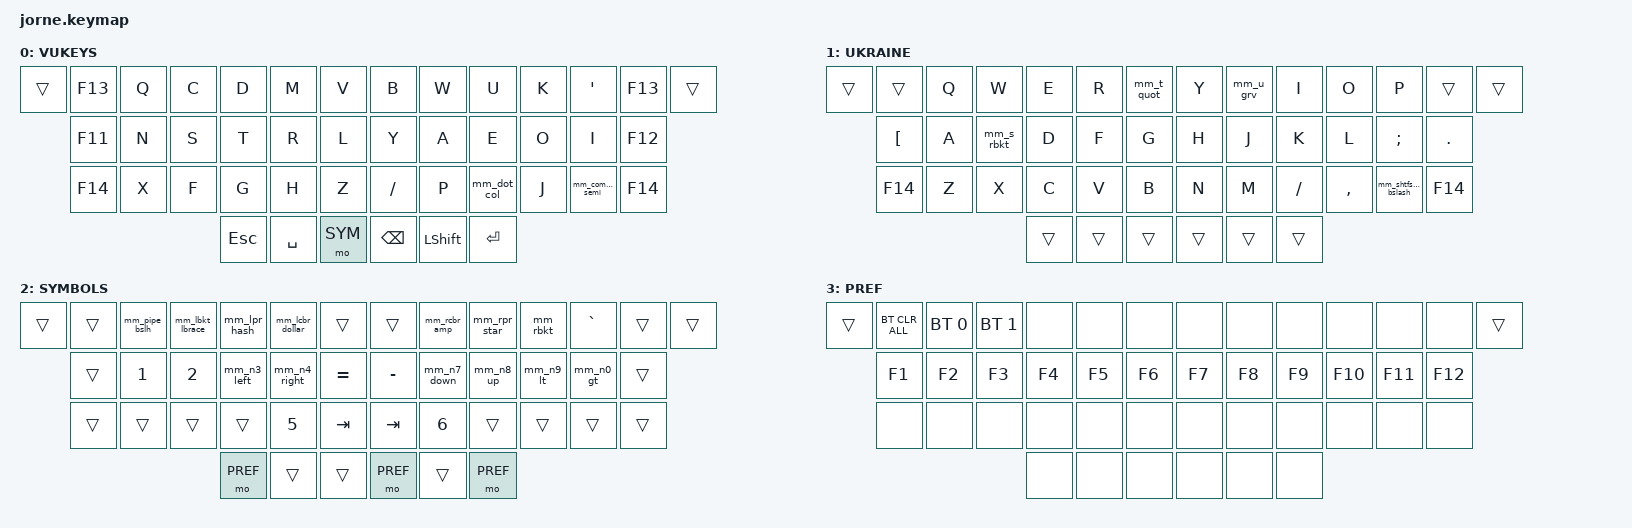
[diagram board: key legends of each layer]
/*
 * Copyright (c) 2020 The ZMK Contributors
 *
 * SPDX-License-Identifier: MIT
 */

#include <behaviors.dtsi>
#include <dt-bindings/zmk/bt.h>
#include <dt-bindings/zmk/keys.h>

#define VUKEYS 0
#define UA 1
#define SYM 2
#define PREF 3

/ {
    behaviors {
        mm_comma_semi: mm_comma_semi {
            compatible = "zmk,behavior-mod-morph";
            label = "MM_COMMA_SEMI";
            bindings = <&kp COMMA>, <&kp SEMI>;

            #binding-cells = <0>;
            mods = <(MOD_LSFT)>;
        };

        mm_dot_col: mm_dot_col {
            compatible = "zmk,behavior-mod-morph";
            label = "MM_DOT_COL";
            bindings = <&kp DOT>, <&kp COLON>;

            #binding-cells = <0>;
            mods = <(MOD_LSFT)>;
        };

        mm_pipe_bslh: mm_pipe_bslh {
            compatible = "zmk,behavior-mod-morph";
            label = "MM_PIPE_BSLH";
            bindings = <&kp PIPE>, <&kp BACKSLASH>;

            #binding-cells = <0>;
            mods = <(MOD_LSFT)>;
        };

        mm_lbkt_lbrace: mm_lbkt_lbrace {
            compatible = "zmk,behavior-mod-morph";
            label = "MM_LBKT_LBRACE";
            bindings = <&kp LBKT>, <&kp LEFT_BRACE>;

            #binding-cells = <0>;
            mods = <(MOD_LSFT)>;
        };

        mm_lpr_hash: mm_lpr_hash {
            compatible = "zmk,behavior-mod-morph";
            label = "MM_LPR_HASH";
            bindings = <&kp LS(N9)>, <&kp LS(N3)>;

            #binding-cells = <0>;
            mods = <(MOD_LSFT)>;
        };

        mm_lcbr_dollar: mm_lcbr_dollar {
            compatible = "zmk,behavior-mod-morph";
            label = "MM_LCBR_DOLLAR";
            bindings = <&kp LS(LBKT)>, <&kp LS(N4)>;

            #binding-cells = <0>;
            mods = <(MOD_LSFT)>;
        };

        mm_rcbr_amp: mm_rcbr_amp {
            compatible = "zmk,behavior-mod-morph";
            label = "MM_RCBR_AMP";
            bindings = <&kp LS(RBKT)>, <&kp LS(N7)>;

            #binding-cells = <0>;
            mods = <(MOD_LSFT)>;
        };

        mm_rpr_star: mm_rpr_star {
            compatible = "zmk,behavior-mod-morph";
            label = "mm_rpr_star";
            bindings = <&kp LS(N0)>, <&kp LS(N8)>;

            #binding-cells = <0>;
            mods = <(MOD_LSFT)>;
        };

        mm_rbkt: mm_rbkt {
            compatible = "zmk,behavior-mod-morph";
            label = "MM_RBKT";
            bindings = <&kp RBKT>, <&kp LS(RBKT)>;

            #binding-cells = <0>;
            mods = <(MOD_LSFT)>;
        };

        mm_n3_left: mm_n3_left {
            compatible = "zmk,behavior-mod-morph";
            label = "MM_N3_LEFT";
            bindings = <&kp N3>, <&kp LEFT>;

            #binding-cells = <0>;
            mods = <(MOD_LSFT)>;
        };

        mm_n4_right: mm_n4_right {
            compatible = "zmk,behavior-mod-morph";
            label = "MM_N4_RIGHT";
            bindings = <&kp N4>, <&kp RIGHT>;

            #binding-cells = <0>;
            mods = <(MOD_LSFT)>;
        };

        mm_n7_down: mm_n7_down {
            compatible = "zmk,behavior-mod-morph";
            label = "MM_N7_DOWN";
            bindings = <&kp N7>, <&kp DOWN>;

            #binding-cells = <0>;
            mods = <(MOD_LSFT)>;
        };

        mm_n8_up: mm_n8_up {
            compatible = "zmk,behavior-mod-morph";
            label = "MM_N8_UP";
            bindings = <&kp N8>, <&kp UP>;

            #binding-cells = <0>;
            mods = <(MOD_LSFT)>;
        };

        mm_n9_lt: mm_n9_lt {
            compatible = "zmk,behavior-mod-morph";
            label = "MM_N9_LT";
            bindings = <&kp N9>, <&kp LESS_THAN>;

            #binding-cells = <0>;
            mods = <(MOD_LSFT)>;
        };

        mm_n0_gt: mm_n0_gt {
            compatible = "zmk,behavior-mod-morph";
            label = "MM_N0_GT";
            bindings = <&kp N0>, <&kp GREATER_THAN>;

            #binding-cells = <0>;
            mods = <(MOD_LSFT)>;
        };

        mm_t_quot: mm_t_quot {
            compatible = "zmk,behavior-mod-morph";
            label = "MM_T_QUOT";
            bindings = <&kp T>, <&kp SINGLE_QUOTE>;

            #binding-cells = <0>;
            mods = <(MOD_LSFT)>;
        };

        mm_s_rbkt: mm_s_rbkt {
            compatible = "zmk,behavior-mod-morph";
            label = "MM_S_RBKT";
            bindings = <&kp S>, <&kp RBKT>;

            #binding-cells = <0>;
            mods = <(MOD_LSFT)>;
        };

        mm_u_grv: mm_u_grv {
            compatible = "zmk,behavior-mod-morph";
            label = "MM_U_GRV";
            bindings = <&kp U>, <&kp GRAVE>;

            #binding-cells = <0>;
            mods = <(MOD_LSFT)>;
        };

        mm_comma_bslh: mm_comma_bslh {
            compatible = "zmk,behavior-mod-morph";
            label = "MM_COMMA_BSLH";
            bindings = <&kp COMMA>, <&kp BSLH>;

            #binding-cells = <0>;
            mods = <(MOD_LSFT)>;
        };

        mm_shtfslash_bslash: mm_shtfslash_bslash {
            compatible = "zmk,behavior-mod-morph";
            label = "MM_SHTFSLASH_BSLASH";
            bindings = <&kp LS(SLASH)>, <&kp BSLH>;

            #binding-cells = <0>;
            mods = <(MOD_LSFT)>;
        };
    };

    combos {
        compatible = "zmk,combos";

        left_index_home_top_ctrl {
            bindings = <&sk LCTRL>;
            key-positions = <5 18>;
            layers = <0 2>;
            timeout-ms = <50>;
        };

        left_middle_home_top_cmd {
            bindings = <&sk LGUI>;
            key-positions = <4 17>;
            layers = <0 2>;
            timeout-ms = <50>;
        };

        left_ring_home_top_opt {
            bindings = <&sk LALT>;
            key-positions = <3 16>;
            layers = <0 1 2>;
            timeout-ms = <50>;
        };

        right_index_home_top_ctrl {
            bindings = <&sk RCTRL>;
            key-positions = <8 21>;
            layers = <0 2>;
            timeout-ms = <50>;
        };

        right_middle_home_top_cmd {
            bindings = <&sk RGUI>;
            key-positions = <22 9>;
            layers = <0 2>;
            timeout-ms = <50>;
        };

        right_ring_home_top_opt {
            bindings = <&sk RALT>;
            key-positions = <10 23>;
            layers = <0 1 2>;
            timeout-ms = <50>;
        };

        vukeys_to_ua {
            bindings = <&m_f14_ua>;
            key-positions = <40 41>;
            layers = <0>;
        };

        ua_to_vukeys {
            bindings = <&m_f14_vukeys>;
            key-positions = <40 41>;
            layers = <1>;
        };
    };

    macros {
        m_f14_ua: m_f14_ua {
            compatible = "zmk,behavior-macro";
            #binding-cells = <0>;
            bindings = <&kp F14 &to 1>;
            label = "M_F14_UA";
            wait-ms = <30>;
            tap-ms = <40>;
        };

        m_f14_vukeys: m_f14_vukeys {
            compatible = "zmk,behavior-macro";
            #binding-cells = <0>;
            bindings = <&kp F14 &to 0>;
            label = "M_F14_VUKEYS";
            wait-ms = <30>;
            tap-ms = <40>;
        };
    };

    keymap {
        compatible = "zmk,keymap";

        VUKEYS {
            bindings = <
&trans  &kp F13  &kp Q  &kp C  &kp D    &kp M      &kp V      &kp B      &kp W       &kp U        &kp K  &kp SQT         &kp F13  &trans
        &kp F11  &kp N  &kp S  &kp T    &kp R      &kp L      &kp Y      &kp A       &kp E        &kp O  &kp I           &kp F12
        &kp F14  &kp X  &kp F  &kp G    &kp H      &kp Z      &kp SLASH  &kp P       &mm_dot_col  &kp J  &mm_comma_semi  &kp F14
                               &kp ESC  &kp SPACE  &mo SYM    &kp BSPC   &kp LSHIFT  &kp RET
            >;
        };

        UA {
            label = " UKRAINE";
            bindings = <
&trans  &trans    &kp Q  &kp W       &kp E   &kp R   &mm_t_quot    &kp Y   &mm_u_grv  &kp I      &kp O      &kp P                 &trans   &trans
        &kp LBKT  &kp A  &mm_s_rbkt  &kp D   &kp F   &kp G         &kp H   &kp J      &kp K      &kp L      &kp SEMI              &kp DOT
        &kp F14   &kp Z  &kp X       &kp C   &kp V   &kp B         &kp N   &kp M      &kp SLASH  &kp COMMA  &mm_shtfslash_bslash  &kp F14
                                     &trans  &trans  &trans        &trans  &trans     &trans
            >;
        };

        SYM {
            label = " SYMBOLS";
            bindings = <
&trans  &trans  &mm_pipe_bslh  &mm_lbkt_lbrace  &mm_lpr_hash  &mm_lcbr_dollar  &trans       &trans     &mm_rcbr_amp  &mm_rpr_star  &mm_rbkt   &kp GRAVE  &trans  &trans
        &trans  &kp N1         &kp N2           &mm_n3_left   &mm_n4_right     &kp EQUAL    &kp MINUS  &mm_n7_down   &mm_n8_up     &mm_n9_lt  &mm_n0_gt  &trans
        &trans  &trans         &trans           &trans        &kp N5           &kp TAB      &kp TAB    &kp N6        &trans        &trans     &trans     &trans
                                                &mo PREF      &trans           &trans       &mo PREF   &trans        &mo PREF
            >;
        };

        PREF {
            label = " PREF";
            bindings = <
&trans  &bt BT_CLR_ALL  &bt BT_SEL 0  &bt BT_SEL 1  &none   &none   &none     &none   &none   &none   &none    &none    &none    &trans
        &kp F1          &kp F2        &kp F3        &kp F4  &kp F5  &kp F6    &kp F7  &kp F8  &kp F9  &kp F10  &kp F11  &kp F12
        &none           &none         &none         &none   &none   &none     &none   &none   &none   &none    &none    &none
                                                    &none   &none   &none     &none   &none   &none
            >;
        };
    };
};
